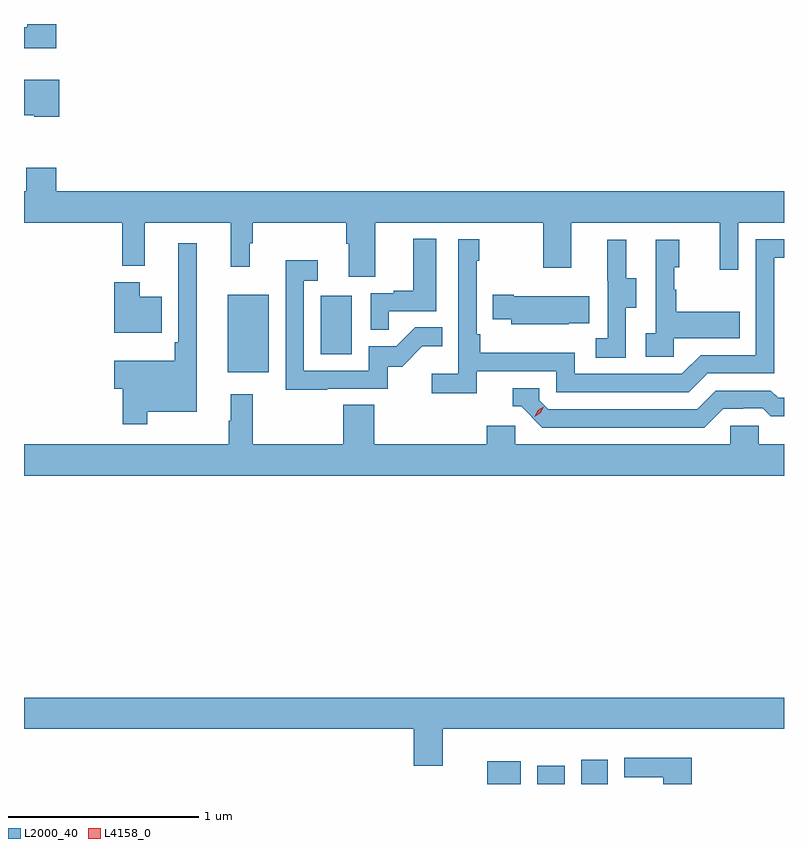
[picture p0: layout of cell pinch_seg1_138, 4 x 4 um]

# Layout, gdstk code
import gdstk
lib = gdstk.Library(unit=1e-6, precision=1e-09)
def R(c, l, rs):  # rectangles x0, y0, x1, y1
    for r in rs: c.add(gdstk.rectangle(r[:2], r[2:], *l))
def P(c, l, *ps):  # polygons
    for p in ps: c.add(gdstk.Polygon(p, *l))
L2000_40 = (2000, 40)
L4158_0 = (4158, 0)

pinch_seg1_138 = lib.new_cell('pinch_seg1_138')
R(pinch_seg1_138, L2000_40, [(1117.022,547.445,1117.198,547.564), (1117.286,547.445,1117.429,547.54), (1117.517,547.445,1117.657,547.573), (1115.657,549.611,1115.872,550.021), (1116.146,549.708,1116.31,550.015)])
P(pinch_seg1_138, L2000_40, [(1114.754,551.445),(1114.601,551.445),(1114.601,551.428),(1114.584,551.428),(1114.584,551.318),(1114.754,551.318)],
  [(1114.769,551.152),(1114.584,551.152),(1114.584,550.964),(1114.638,550.964),(1114.638,550.958),(1114.769,550.958)],
  [(1114.754,550.688),(1114.597,550.688),(1114.597,550.564),(1114.584,550.564),(1114.584,550.4),(1115.101,550.4),(1115.101,550.172),(1115.219,550.172),(1115.219,550.4),(1115.672,550.4),(1115.672,550.167),(1115.771,550.167),(1115.771,550.292),(1115.789,550.292),(1115.789,550.4),(1116.281,550.4),(1116.281,550.288),(1116.293,550.288),(1116.293,550.114),(1116.433,550.114),(1116.433,550.4),(1117.318,550.4),(1117.318,550.161),(1117.465,550.161),(1117.465,550.4),(1118.246,550.4),(1118.246,550.152),(1118.343,550.152),(1118.343,550.4),(1118.584,550.4),(1118.584,550.564),(1114.754,550.564)],
  [(1116.503,549.933),(1116.754,549.933),(1116.754,550.315),(1116.632,550.315),(1116.632,550.042),(1116.529,550.042),(1116.529,550.029),(1116.408,550.029),(1116.408,549.835),(1116.503,549.835)],
  [(1116.968,549.618),(1117.386,549.618),(1117.386,549.507),(1118.083,549.507),(1118.182,549.606),(1118.532,549.606),(1118.532,550.215),(1118.584,550.215),(1118.584,550.311),(1118.436,550.311),(1118.436,549.702),(1118.145,549.702),(1118.046,549.603),(1117.482,549.603),(1117.482,549.715),(1116.986,549.715),(1116.986,549.811),(1116.966,549.811),(1116.966,550.199),(1116.979,550.199),(1116.979,550.312),(1116.87,550.312),(1116.87,549.604),(1116.729,549.604),(1116.729,549.502),(1116.968,549.502)],
  [(1117.752,549.952),(1117.807,549.952),(1117.807,550.107),(1117.753,550.107),(1117.753,550.309),(1117.655,550.309),(1117.655,550.095),(1117.656,550.095),(1117.656,549.791),(1117.593,549.791),(1117.593,549.688),(1117.752,549.688)],
  [(1118.004,549.791),(1118.351,549.791),(1118.351,549.931),(1118.017,549.931),(1118.017,550.046),(1118.007,550.046),(1118.007,550.164),(1118.032,550.164),(1118.032,550.309),(1117.908,550.309),(1117.908,549.818),(1117.857,549.818),(1117.857,549.693),(1118.004,549.693)],
  [(1115.233,549.404),(1115.494,549.404),(1115.494,550.291),(1115.397,550.291),(1115.397,549.769),(1115.377,549.769),(1115.377,549.673),(1115.06,549.673),(1115.06,549.526),(1115.104,549.526),(1115.104,549.339),(1115.233,549.339)],
  [(1116.179,549.525),(1116.498,549.525),(1116.498,549.642),(1116.574,549.642),(1116.681,549.749),(1116.785,549.749),(1116.785,549.848),(1116.642,549.848),(1116.544,549.75),(1116.399,549.75),(1116.399,549.621),(1116.057,549.621),(1116.057,550.095),(1116.13,550.095),(1116.13,550.201),(1115.961,550.201),(1115.961,549.52),(1116.179,549.52)],
  [(1115.308,550.009),(1115.194,550.009),(1115.194,550.087),(1115.06,550.087),(1115.06,549.821),(1115.308,549.821)],
  [(1117.451,549.869),(1117.559,549.869),(1117.559,550.012),(1117.162,550.012),(1117.162,550.02),(1117.051,550.02),(1117.051,549.89),(1117.149,549.89),(1117.149,549.866),(1117.451,549.866)],
  [(1118.263,549.42),(1118.37,549.42),(1118.37,549.423),(1118.473,549.423),(1118.515,549.381),(1118.584,549.381),(1118.584,549.477),(1118.554,549.477),(1118.515,549.516),(1118.226,549.516),(1118.127,549.417),(1117.344,549.417),(1117.296,549.465),(1117.296,549.528),(1117.157,549.528),(1117.157,549.432),(1117.2,549.432),(1117.311,549.321),(1118.164,549.321)],
  [(1117.019,549.33),(1117.019,549.232),(1116.428,549.232),(1116.428,549.44),(1116.263,549.44),(1116.263,549.232),(1115.789,549.232),(1115.789,549.496),(1115.672,549.496),(1115.672,549.356),(1115.661,549.356),(1115.661,549.232),(1114.584,549.232),(1114.584,549.068),(1118.584,549.068),(1118.584,549.232),(1118.451,549.232),(1118.451,549.33),(1118.301,549.33),(1118.301,549.232),(1117.17,549.232),(1117.17,549.33)],
  [(1116.787,547.736),(1118.584,547.736),(1118.584,547.9),(1114.584,547.9),(1114.584,547.736),(1116.635,547.736),(1116.635,547.542),(1116.787,547.542)],
  [(1118.099,547.582),(1117.743,547.582),(1117.743,547.48),(1117.948,547.48),(1117.948,547.445),(1118.099,547.445)])
P(pinch_seg1_138, L4158_0, [(1117.273,549.379),(1117.273,549.379),(1117.289,549.412),(1117.32,549.431),(1117.32,549.431),(1117.32,549.431),(1117.304,549.398),(1117.273,549.379)])

lib.write_gds('pinch_seg1_138.gds')
